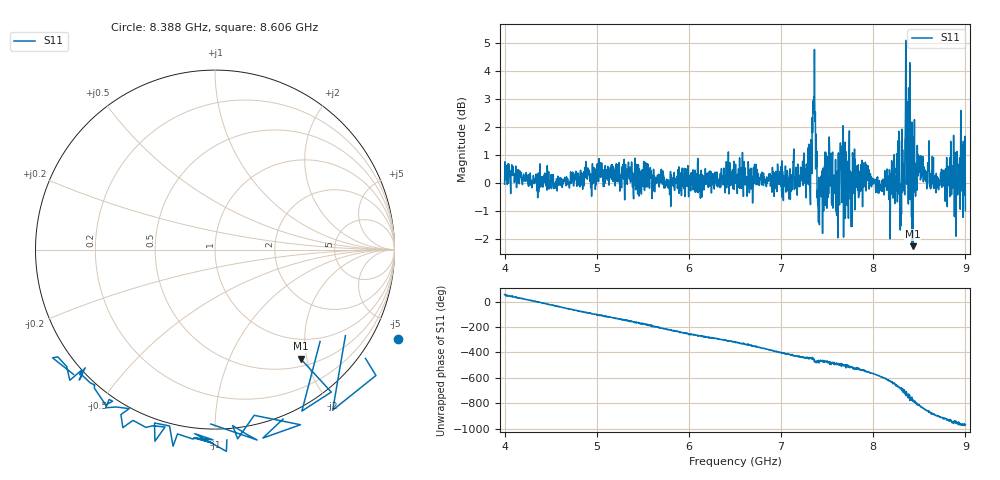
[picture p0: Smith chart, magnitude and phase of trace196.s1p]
! Created with skrf 1.8.0 (http://scikit-rf.org).
# Hz S RI R 50.0
!freq ReS11 ImS11
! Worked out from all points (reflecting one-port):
!   1601 points, 4 GHz to 9 GHz, reference 50 ohm
!   lowest |S11| = -2.2 dB at 8.431 GHz (marker M1), VSWR 7.80, Z = 31.3 - j94.5 ohm
!   phase of S11 starts at 56 deg and turns -1025 deg over the sweep
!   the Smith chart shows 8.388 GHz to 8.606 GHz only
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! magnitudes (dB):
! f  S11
! 4 GHz  0.0
! 4.625 GHz  -0.1
! 5.25 GHz  -0.3
! 5.875 GHz  -0.2
! 6.5 GHz  0.0
! 7.125 GHz  0.2
! 7.294 GHz  0.9
! 7.328 GHz  1.5
! 7.347 GHz  3.0
! 7.362 GHz  4.8
! 7.4 GHz  -0.8
! 7.416 GHz  -1.5
! 7.534 GHz  -0.1
! 7.609 GHz  0.3
! 7.662 GHz  -0.1
! 7.75 GHz  0.4
! 7.928 GHz  0.3
! 8.097 GHz  0.1
! 8.262 GHz  -0.7
! 8.316 GHz  -0.3
! 8.334 GHz  0.7
! 8.375 GHz  1.6
! 8.406 GHz  0.3
! 8.431 GHz  -2.2
! 8.459 GHz  -0.5
! 8.7 GHz  -0.2
! 8.972 GHz  0.1
! 9 GHz  -1.0
